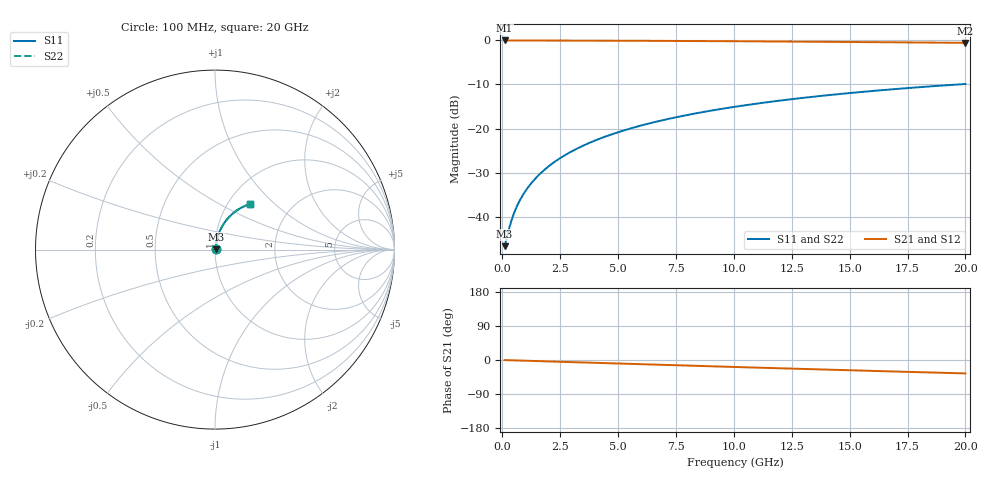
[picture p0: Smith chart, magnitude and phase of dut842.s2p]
! Touchstone file exported from HFSS 2026.1.0
!  File:  C:/ffzhzh/LocalFiles/Ansys_Project_Files/temp_train_BSMRDL_842_1783170409_22436.aedt
!  Generated:  09:08:01 PM Jul  4, 2026
!  Design:  BSMRDL
!  Project:  temp_train_BSMRDL_842_1783170409_22436
! Variables:
!  h_bsmrdl = 2.58um
!  h_ox = 20um
!  h_rdl = 5um
!  h_sub = 80um
!  h_tmrdl = 5um
!  h_tsv = 80um
!  h_via = 3um
!  l_bsmrdl = 516.7um
!  l_sub = 916.7um
!  l_tmrdl = 200um
!  m_sub = 200um
!  pitch = 36.87um
!  r_tsv = 6um
!  s_tmrdl = 10um
!  w_bsmrdl = 17.88um
!  w_sub = 500um
!  w_tmrdl = 12um
!  x_tsv_center1 = 206um
!  x_tsv_center2 = 740.58um
!  x_tsv_center3 = 952.58um
!  x_tsv_center4 = 1487.16um
!  x_tsv_center5 = 1699.16um
!  x_tsv_center6 = 2233.74um
# GHz S MA R 50.000000
! Terminal data exported
! Port[1] = BSM_RDL1_1_T1
! Port[2] = BSM_RDL1_1_T2
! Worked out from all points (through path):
!   200 points, 100 MHz to 20 GHz, reference 50 ohm
!   highest |S21| = -0.04 dB at 100 MHz (marker M1); lowest = -0.6 dB at 20 GHz (marker M2)
!   group delay of S21, straight-line fit = 4.92 ps
!   lowest |S11| = -46.6 dB at 100 MHz (marker M3), VSWR 1.01, Z = 50.4 + j0.205 ohm
!   |S11| at or under -10 dB: start of sweep to 19.7 GHz
!   |S22| runs from -46.6 to -9.9 dB; largest |S21 - S12| = 4.4e-15
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0.1  0.004653 25.9  0.9958 -0.2  0.9958 -0.2  0.004653 25.9
! Gamma 0 0 0 0
! Port Impedance 50 0 50 0
0.3  0.007474 53.3  0.9956 -0.6  0.9956 -0.6  0.007474 53.3
0.4  0.009165 59.4  0.9954 -0.8  0.9954 -0.8  0.009166 59.4
0.5  0.01089 63.5  0.9953 -1.0  0.9953 -1.0  0.01089 63.5
0.6  0.01263 66.4  0.9951 -1.2  0.9951 -1.2  0.01263 66.4
0.7  0.01437 68.6  0.995 -1.3  0.995 -1.3  0.01437 68.6
0.9  0.01786 71.7  0.9947 -1.7  0.9947 -1.7  0.01786 71.7
1.2  0.02312 74.5  0.9945 -2.3  0.9945 -2.3  0.02312 74.5
1.4  0.02665 75.7  0.9943 -2.6  0.9943 -2.6  0.02665 75.7
1.7  0.03198 76.9  0.994 -3.2  0.994 -3.2  0.03198 76.9
2.2  0.04091 78.0  0.9936 -4.1  0.9936 -4.1  0.04091 78.0
2.8  0.05166 78.3  0.9929 -5.2  0.9929 -5.2  0.05166 78.3
3.5  0.06419 78.1  0.992 -6.5  0.992 -6.5  0.06419 78.1
4.2  0.07667 77.6  0.9909 -7.8  0.9909 -7.8  0.07667 77.6
5  0.09084 76.6  0.9895 -9.3  0.9895 -9.3  0.09084 76.6
5.9  0.1066 75.4  0.9876 -11.0  0.9876 -11.0  0.1066 75.4
6.8  0.1222 74.1  0.9854 -12.6  0.9854 -12.6  0.1222 74.1
8.3  0.1477 71.7  0.9813 -15.3  0.9813 -15.3  0.1477 71.7
10.1  0.1774 68.7  0.9756 -18.6  0.9756 -18.6  0.1774 68.7
13.4  0.229 63.2  0.9636 -24.3  0.9636 -24.3  0.229 63.2
16.7  0.2766 57.8  0.95 -30.0  0.95 -30.0  0.2766 57.8
20  0.32 52.5  0.9356 -35.4  0.9356 -35.4  0.32 52.5
